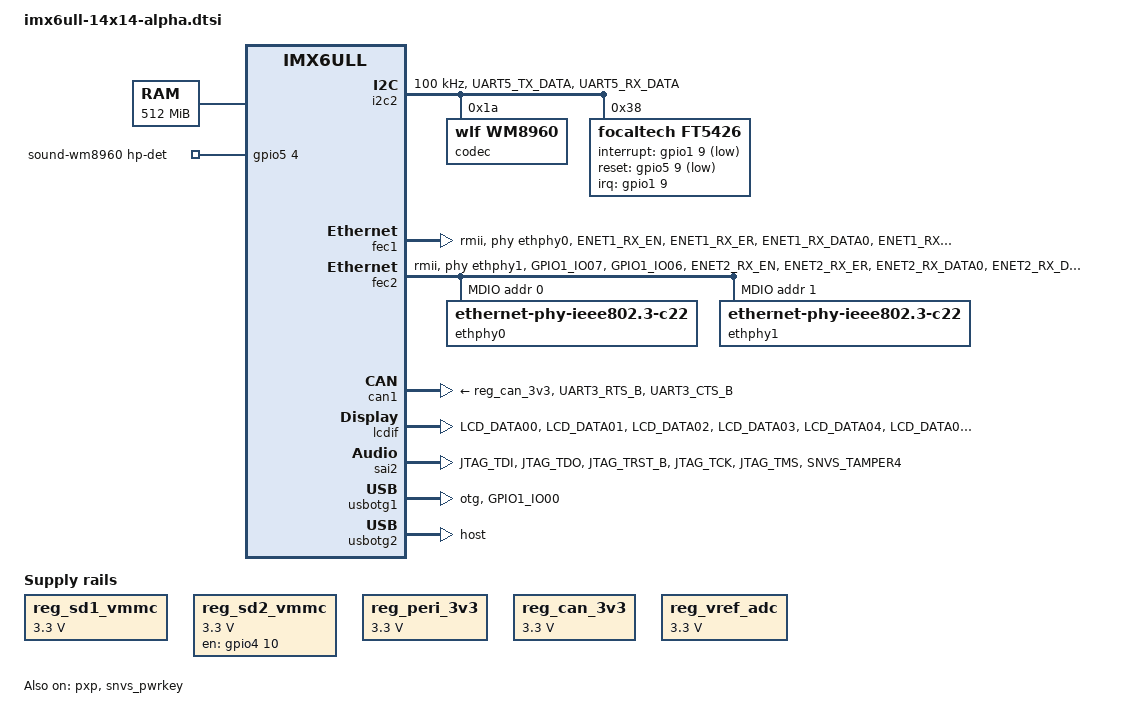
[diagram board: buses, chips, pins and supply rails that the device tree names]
// SPDX-License-Identifier: GPL-2.0
//
// Copyright (C) 2015 Freescale Semiconductor, Inc.

#include <dt-bindings/media/video-interfaces.h>

/ {
	chosen {
		stdout-path = &uart1;
	};

	memory@80000000 {
		device_type = "memory";
		reg = <0x80000000 0x20000000>;
	};

	reserved-memory {
		#address-cells = <1>;
		#size-cells = <1>;
		ranges;

		linux,cma {
			compatible = "shared-dma-pool";
			reusable;
			size = <0xa000000>;
			linux,cma-default;
		};
	};

	pxp_v4l2 {
		compatible = "fsl,imx6ul-pxp-v4l2", "fsl,imx6sx-pxp-v4l2", "fsl,imx6sl-pxp-v4l2";
		status = "okay";
	};

	reg_sd1_vmmc: regulator-sd1-vmmc {
		compatible = "regulator-fixed";
		regulator-name = "VSD_3V3";
		regulator-min-microvolt = <3300000>;
		regulator-max-microvolt = <3300000>;
		off-on-delay-us = <20000>;
		enable-active-high;
	};

	reg_sd2_vmmc: regulator-sd2-vmmc {
		compatible = "regulator-fixed";
		regulator-name = "+V3.3";
		regulator-min-microvolt = <3300000>;
		regulator-max-microvolt = <3300000>;
		gpio = <&gpio4 10 GPIO_ACTIVE_HIGH>;
		off-on-delay-us = <20000>;
		enable-active-high;
	};

	reg_peri_3v3: regulator-peri-3v3 {
		compatible = "regulator-fixed";
		pinctrl-names = "default";
		regulator-name = "VPERI_3V3";
		regulator-min-microvolt = <3300000>;
		regulator-max-microvolt = <3300000>;
		/*
		 * If you want to want to make this dynamic please
		 * check schematics and test all affected peripherals:
		 *
		 * - sensors
		 * - ethernet phy
		 * - can
		 * - bluetooth
		 * - wm8960 audio codec
		 * - ov5640 camera
		 */
		regulator-always-on;
	};

	reg_can_3v3: regulator-can-3v3 {
		compatible = "regulator-fixed";
		regulator-name = "can-3v3";
		regulator-min-microvolt = <3300000>;
		regulator-max-microvolt = <3300000>;
	};

	reg_vref_adc: regulator-adc-3v3 {
		compatible = "regulator-fixed";
		regulator-name = "vref-adc-3v3";
		regulator-min-microvolt = <3300000>;
		regulator-max-microvolt = <3300000>;
	};

	sound-wm8960 {
		compatible = "fsl,imx-audio-wm8960";
		model = "wm8960-audio";
		audio-cpu = <&sai2>;
		audio-codec = <&codec>;
		audio-asrc = <&asrc>;
		hp-det-gpio = <&gpio5 4 0>;
		audio-routing =
			"Headphone Jack", "HP_L",
			"Headphone Jack", "HP_R",
			"Ext Spk", "SPK_LP",
			"Ext Spk", "SPK_LN",
			"Ext Spk", "SPK_RP",
			"Ext Spk", "SPK_RN",
			"LINPUT2", "Mic Jack",
			"LINPUT3", "Mic Jack",
			"RINPUT1", "AMIC",
			"RINPUT2", "AMIC",
			"Mic Jack", "MICB",
			"AMIC", "MICB";
	};
};

&clks {
	assigned-clocks = <&clks IMX6UL_CLK_PLL4_AUDIO_DIV>;
	assigned-clock-rates = <786432000>;
};

&csi {
	status = "disabled";

	port {
		csi1_ep: endpoint {
			remote-endpoint = <&ov5640_ep>;
		};
	};
};

&i2c2 {
	clock-frequency = <100000>;
	pinctrl-names = "default";
	pinctrl-0 = <&pinctrl_i2c2>;
	status = "okay";

	codec: wm8960@1a {
		#sound-dai-cells = <0>;
		compatible = "wlf,wm8960";
		reg = <0x1a>;
		wlf,shared-lrclk;
		wlf,hp-cfg = <3 2 3>;
		wlf,gpio-cfg = <1 3>;
		clocks = <&clks IMX6UL_CLK_SAI2>;
		clock-names = "mclk";
	};

	ov5640: ov5640@3c {
		compatible = "ovti,ov5640";
		reg = <0x3c>;
		pinctrl-names = "default";
		pinctrl-0 = <&pinctrl_csi1 &pinctrl_camera_clock>;
		clocks = <&clks IMX6UL_CLK_CSI>;
		clock-names = "csi_mclk";
		csi_id = <0>;
		mclk = <24000000>;
		mclk_source = <0>;
		status = "disabled";
		port {
			ov5640_ep: endpoint {
				remote-endpoint = <&csi1_ep>;
			};
		};
	};

	ft5426@38 {
		compatible = "focaltech,ft5426", "edt,edt-ft5406";
		reg = <0x38>;
		pinctrl-names = "default";
		pinctrl-0 = <&pinctrl_tsc
					&pinctrl_tsc_reset>;
		interrupt-parent = <&gpio1>;
		interrupts = <9 IRQ_TYPE_EDGE_FALLING>;
		interrupt-gpios = <&gpio1 9 GPIO_ACTIVE_LOW>;
		reset-gpios = <&gpio5 9 GPIO_ACTIVE_LOW>;
		touchscreen-size-x = <1024>;
		touchscreen-size-y = <600>;
	};
};

&fec1 {
	pinctrl-names = "default";
	pinctrl-0 = <&pinctrl_enet1
				&pinctrl_enet1_reset>;
	phy-mode = "rmii";
	phy-handle = <&ethphy0>;
	phy-reset-gpios = <&gpio5 7 GPIO_ACTIVE_LOW>;
	phy-reset-duration = <200>;
	local-mac-address = [4a 00 71 b2 72 ac];
	status = "okay";
};

&fec2 {
	pinctrl-names = "default";
	pinctrl-0 = <&pinctrl_enet2
				&pinctrl_enet2_reset>;
	phy-mode = "rmii";
	phy-handle = <&ethphy1>;
	phy-reset-gpios = <&gpio5 8 GPIO_ACTIVE_LOW>;
	phy-reset-duration = <200>;
	local-mac-address = [8a 92 3d 1c 76 fc];
	status = "okay";

	mdio {
		#address-cells = <1>;
		#size-cells = <0>;

		ethphy0: ethernet-phy@0 {
			compatible = "ethernet-phy-ieee802.3-c22";
			reg = <0>;
		};

		ethphy1: ethernet-phy@1 {
			compatible = "ethernet-phy-ieee802.3-c22";
			reg = <1>;
		};
	};
};

&can1 {
	pinctrl-names = "default";
	pinctrl-0 = <&pinctrl_flexcan1>;
	xceiver-supply = <&reg_can_3v3>;
	status = "okay";
};

&lcdif {
	assigned-clocks = <&clks IMX6UL_CLK_LCDIF_PRE_SEL>;
	assigned-clock-parents = <&clks IMX6UL_CLK_PLL5_VIDEO_DIV>;
	pinctrl-names = "default";
	pinctrl-0 = <&pinctrl_lcdif_dat
		     &pinctrl_lcdif_ctrl>;
	display = <&display0>;
	status = "okay";

	display0: display@0 {
		bits-per-pixel = <24>;	/* 一个像素占用 24bit */
		bus-width = <24>;		/* 总线宽度 */

		display-timings {
			native-mode = <&timing0>;

			timing0: timing0 {
				clock-frequency = <51200000>;	/* LCD 像素时钟，单位 Hz */
				hactive = <1024>;				/* LCD X 轴像素个数 */
				vactive = <600>;				/* LCD Y 轴像素个数 */
				hfront-porch = <160>;			/* LCD hfp 参数 */
				hback-porch = <140>;			/* LCD hbp 参数 */
				hsync-len = <20>;				/* LCD hspw 参数 */
				vback-porch = <20>;				/* LCD vbp 参数 */
				vfront-porch = <12>;			/* LCD vfp 参数 */
				vsync-len = <3>;				/* LCD vspw 参数 */
				hsync-active = <0>;				/* hsync 数据线极性 */
				vsync-active = <0>;				/* vsync 数据线极性 */
				de-active = <1>;				/* de 数据线极性 */
				pixelclk-active = <0>;			/* clk 数据线极性 */
			};
		};
	};
};

&pxp {
	status = "okay";
};

&sai2 {
	pinctrl-names = "default";
	pinctrl-0 = <&pinctrl_sai2 
				&pinctrl_sai2_hp_det_b>;
	assigned-clocks = <&clks IMX6UL_CLK_SAI2_SEL>,
			  <&clks IMX6UL_CLK_SAI2>;
	assigned-clock-parents = <&clks IMX6UL_CLK_PLL4_AUDIO_DIV>;
	assigned-clock-rates = <0>, <12288000>;
	fsl,sai-mclk-direction-output;
	status = "okay";
};

&snvs_poweroff {
	status = "okay";
};

&snvs_pwrkey {
	status = "okay";
};

&usbotg1 {
	dr_mode = "otg";
	pinctrl-names = "default";
	pinctrl-0 = <&pinctrl_usb_otg1>;
	status = "okay";
};

&usbotg2 {
	dr_mode = "host";
	disable-over-current;
	status = "okay";
};

&usbphy1 {
	fsl,tx-d-cal = <106>;
};

&usbphy2 {
	fsl,tx-d-cal = <106>;
};

&wdog1 {
	pinctrl-names = "default";
	pinctrl-0 = <&pinctrl_wdog>;
	fsl,ext-reset-output;
};

&iomuxc {
	pinctrl-names = "default";

	pinctrl_camera_clock: cameraclockgrp {
		fsl,pins = <
			MX6UL_PAD_CSI_MCLK__CSI_MCLK		0x1b088
		>;
	};

	pinctrl_csi1: csi1grp {
		fsl,pins = <
			MX6UL_PAD_CSI_PIXCLK__CSI_PIXCLK	0x1b088
			MX6UL_PAD_CSI_VSYNC__CSI_VSYNC		0x1b088
			MX6UL_PAD_CSI_HSYNC__CSI_HSYNC		0x1b088
			MX6UL_PAD_CSI_DATA00__CSI_DATA02	0x1b088
			MX6UL_PAD_CSI_DATA01__CSI_DATA03	0x1b088
			MX6UL_PAD_CSI_DATA02__CSI_DATA04	0x1b088
			MX6UL_PAD_CSI_DATA03__CSI_DATA05	0x1b088
			MX6UL_PAD_CSI_DATA04__CSI_DATA06	0x1b088
			MX6UL_PAD_CSI_DATA05__CSI_DATA07	0x1b088
			MX6UL_PAD_CSI_DATA06__CSI_DATA08	0x1b088
			MX6UL_PAD_CSI_DATA07__CSI_DATA09	0x1b088
		>;
	};

	pinctrl_enet1: enet1grp {
		fsl,pins = <
			MX6UL_PAD_ENET1_RX_EN__ENET1_RX_EN	0x1b0b0
			MX6UL_PAD_ENET1_RX_ER__ENET1_RX_ER	0x1b0b0
			MX6UL_PAD_ENET1_RX_DATA0__ENET1_RDATA00	0x1b0b0
			MX6UL_PAD_ENET1_RX_DATA1__ENET1_RDATA01	0x1b0b0
			MX6UL_PAD_ENET1_TX_EN__ENET1_TX_EN	0x1b0b0
			MX6UL_PAD_ENET1_TX_DATA0__ENET1_TDATA00	0x1b0b0
			MX6UL_PAD_ENET1_TX_DATA1__ENET1_TDATA01	0x1b0b0
			MX6UL_PAD_ENET1_TX_CLK__ENET1_REF_CLK1	0x4001b009
		>;
	};

	pinctrl_enet2: enet2grp {
		fsl,pins = <
			MX6UL_PAD_GPIO1_IO07__ENET2_MDC		0x1b0b0
			MX6UL_PAD_GPIO1_IO06__ENET2_MDIO	0x1b0b0
			MX6UL_PAD_ENET2_RX_EN__ENET2_RX_EN	0x1b0b0
			MX6UL_PAD_ENET2_RX_ER__ENET2_RX_ER	0x1b0b0
			MX6UL_PAD_ENET2_RX_DATA0__ENET2_RDATA00	0x1b0b0
			MX6UL_PAD_ENET2_RX_DATA1__ENET2_RDATA01	0x1b0b0
			MX6UL_PAD_ENET2_TX_EN__ENET2_TX_EN	0x1b0b0
			MX6UL_PAD_ENET2_TX_DATA0__ENET2_TDATA00	0x1b0b0
			MX6UL_PAD_ENET2_TX_DATA1__ENET2_TDATA01	0x1b0b0
			MX6UL_PAD_ENET2_TX_CLK__ENET2_REF_CLK2	0x4001b009
		>;
	};

	pinctrl_flexcan1: flexcan1grp {
		fsl,pins = <
			MX6UL_PAD_UART3_RTS_B__FLEXCAN1_RX	0x1b020
			MX6UL_PAD_UART3_CTS_B__FLEXCAN1_TX	0x1b020
		>;
	};

	pinctrl_flexcan2: flexcan2grp {
		fsl,pins = <
			MX6UL_PAD_UART2_RTS_B__FLEXCAN2_RX	0x1b020
			MX6UL_PAD_UART2_CTS_B__FLEXCAN2_TX	0x1b020
		>;
	};

	pinctrl_i2c1: i2c1grp {
		fsl,pins = <
			MX6UL_PAD_UART4_TX_DATA__I2C1_SCL 0x4001b8b0
			MX6UL_PAD_UART4_RX_DATA__I2C1_SDA 0x4001b8b0
		>;
	};

	pinctrl_i2c2: i2c2grp {
		fsl,pins = <
			MX6UL_PAD_UART5_TX_DATA__I2C2_SCL 0x4001b8b0
			MX6UL_PAD_UART5_RX_DATA__I2C2_SDA 0x4001b8b0
		>;
	};

	pinctrl_tsc: tscgrp {
		fsl,pins = <
			MX6UL_PAD_GPIO1_IO09__GPIO1_IO09 			0xf080 /* TSC_INT */
		>;
	};

	pinctrl_lcdif_dat: lcdifdatgrp {
		fsl,pins = <
			MX6UL_PAD_LCD_DATA00__LCDIF_DATA00  0x49
			MX6UL_PAD_LCD_DATA01__LCDIF_DATA01  0x49
			MX6UL_PAD_LCD_DATA02__LCDIF_DATA02  0x49
			MX6UL_PAD_LCD_DATA03__LCDIF_DATA03  0x49
			MX6UL_PAD_LCD_DATA04__LCDIF_DATA04  0x49
			MX6UL_PAD_LCD_DATA05__LCDIF_DATA05  0x49
			MX6UL_PAD_LCD_DATA06__LCDIF_DATA06  0x49
			MX6UL_PAD_LCD_DATA07__LCDIF_DATA07  0x49
			MX6UL_PAD_LCD_DATA08__LCDIF_DATA08  0x49
			MX6UL_PAD_LCD_DATA09__LCDIF_DATA09  0x49
			MX6UL_PAD_LCD_DATA10__LCDIF_DATA10  0x49
			MX6UL_PAD_LCD_DATA11__LCDIF_DATA11  0x49
			MX6UL_PAD_LCD_DATA12__LCDIF_DATA12  0x49
			MX6UL_PAD_LCD_DATA13__LCDIF_DATA13  0x49
			MX6UL_PAD_LCD_DATA14__LCDIF_DATA14  0x49
			MX6UL_PAD_LCD_DATA15__LCDIF_DATA15  0x49
			MX6UL_PAD_LCD_DATA16__LCDIF_DATA16  0x49
			MX6UL_PAD_LCD_DATA17__LCDIF_DATA17  0x49
			MX6UL_PAD_LCD_DATA18__LCDIF_DATA18  0x49
			MX6UL_PAD_LCD_DATA19__LCDIF_DATA19  0x49
			MX6UL_PAD_LCD_DATA20__LCDIF_DATA20  0x49
			MX6UL_PAD_LCD_DATA21__LCDIF_DATA21  0x49
			MX6UL_PAD_LCD_DATA22__LCDIF_DATA22  0x49
			MX6UL_PAD_LCD_DATA23__LCDIF_DATA23  0x49
		>;
	};

	pinctrl_lcdif_ctrl: lcdifctrlgrp {
		fsl,pins = <
			MX6UL_PAD_LCD_CLK__LCDIF_CLK	    0x49
			MX6UL_PAD_LCD_ENABLE__LCDIF_ENABLE  0x49
			MX6UL_PAD_LCD_HSYNC__LCDIF_HSYNC    0x49
			MX6UL_PAD_LCD_VSYNC__LCDIF_VSYNC    0x49
		>;
	};

	pinctrl_sai2: sai2grp {
		fsl,pins = <
			MX6UL_PAD_JTAG_TDI__SAI2_TX_BCLK	0x17088
			MX6UL_PAD_JTAG_TDO__SAI2_TX_SYNC	0x17088
			MX6UL_PAD_JTAG_TRST_B__SAI2_TX_DATA	0x11088
			MX6UL_PAD_JTAG_TCK__SAI2_RX_DATA	0x11088
			MX6UL_PAD_JTAG_TMS__SAI2_MCLK		0x17088
		>;
	};

	pinctrl_pwm1: pwm1grp {
		fsl,pins = <
			MX6UL_PAD_GPIO1_IO08__PWM1_OUT   0x110b0
		>;
	};

	pinctrl_pwm3: pwm3grp {
		fsl,pins = <
			MX6UL_PAD_GPIO1_IO04__PWM3_OUT   0x110b0
		>;
	};

	pinctrl_spi3: spi3grp {
		fsl,pins = <
			MX6UL_PAD_UART2_TX_DATA__GPIO1_IO20 	0x10b0 			/* CS */
			MX6UL_PAD_UART2_RX_DATA__ECSPI3_SCLK 	0x10b1 			/* SCLK */
			MX6UL_PAD_UART2_RTS_B__ECSPI3_MISO 		0x10b1 			/* MISO */
			MX6UL_PAD_UART2_CTS_B__ECSPI3_MOSI 		0x10b1 			/* MOSI */
		>;
	};

	pinctrl_uart1: uart1grp {
		fsl,pins = <
			MX6UL_PAD_UART1_TX_DATA__UART1_DCE_TX 0x1b0b1
			MX6UL_PAD_UART1_RX_DATA__UART1_DCE_RX 0x1b0b1
		>;
	};

	pinctrl_uart3: uart3grp {
		fsl,pins = <
			MX6UL_PAD_UART3_TX_DATA__UART3_DCE_TX 			0X1b0b1
			MX6UL_PAD_UART3_RX_DATA__UART3_DCE_RX 			0X1b0b1
		>;
	};

	pinctrl_usb_otg1: usbotg1grp {
		fsl,pins = <
			MX6UL_PAD_GPIO1_IO00__ANATOP_OTG1_ID	0x13058
		>;
	};

	pinctrl_usdhc1: usdhc1grp {
		fsl,pins = <
			MX6UL_PAD_SD1_CMD__USDHC1_CMD     	0x17059
			MX6UL_PAD_SD1_CLK__USDHC1_CLK		0x10071
			MX6UL_PAD_SD1_DATA0__USDHC1_DATA0 	0x17059
			MX6UL_PAD_SD1_DATA1__USDHC1_DATA1 	0x17059
			MX6UL_PAD_SD1_DATA2__USDHC1_DATA2 	0x17059
			MX6UL_PAD_SD1_DATA3__USDHC1_DATA3 	0x17059
			MX6UL_PAD_UART1_RTS_B__GPIO1_IO19       0x17059 /* SD1 CD */
			MX6UL_PAD_GPIO1_IO05__USDHC1_VSELECT    0x17059 /* SD1 VSELECT */
		>;
	};

	pinctrl_usdhc1_100mhz: usdhc1grp100mhz {
		fsl,pins = <
			MX6UL_PAD_SD1_CMD__USDHC1_CMD     0x170b9
			MX6UL_PAD_SD1_CLK__USDHC1_CLK     0x100b9
			MX6UL_PAD_SD1_DATA0__USDHC1_DATA0 0x170b9
			MX6UL_PAD_SD1_DATA1__USDHC1_DATA1 0x170b9
			MX6UL_PAD_SD1_DATA2__USDHC1_DATA2 0x170b9
			MX6UL_PAD_SD1_DATA3__USDHC1_DATA3 0x170b9

		>;
	};

	pinctrl_usdhc1_200mhz: usdhc1grp200mhz {
		fsl,pins = <
			MX6UL_PAD_SD1_CMD__USDHC1_CMD     0x170f9
			MX6UL_PAD_SD1_CLK__USDHC1_CLK     0x100f9
			MX6UL_PAD_SD1_DATA0__USDHC1_DATA0 0x170f9
			MX6UL_PAD_SD1_DATA1__USDHC1_DATA1 0x170f9
			MX6UL_PAD_SD1_DATA2__USDHC1_DATA2 0x170f9
			MX6UL_PAD_SD1_DATA3__USDHC1_DATA3 0x170f9
		>;
	};

	pinctrl_usdhc2: usdhc2grp {
		fsl,pins = <
			MX6UL_PAD_NAND_RE_B__USDHC2_CLK     0x17059
			MX6UL_PAD_NAND_WE_B__USDHC2_CMD     0x17059
			MX6UL_PAD_NAND_DATA00__USDHC2_DATA0 0x17059
			MX6UL_PAD_NAND_DATA01__USDHC2_DATA1 0x17059
			MX6UL_PAD_NAND_DATA02__USDHC2_DATA2 0x17059
			MX6UL_PAD_NAND_DATA03__USDHC2_DATA3 0x17059
		>;
	};

	pinctrl_usdhc2_8bit: usdhc2grp_8bit {
		fsl,pins = <
			MX6UL_PAD_NAND_RE_B__USDHC2_CLK     0x10069
			MX6UL_PAD_NAND_WE_B__USDHC2_CMD     0x17059
			MX6UL_PAD_NAND_DATA00__USDHC2_DATA0 0x17059
			MX6UL_PAD_NAND_DATA01__USDHC2_DATA1 0x17059
			MX6UL_PAD_NAND_DATA02__USDHC2_DATA2 0x17059
			MX6UL_PAD_NAND_DATA03__USDHC2_DATA3 0x17059
			MX6UL_PAD_NAND_DATA04__USDHC2_DATA4 0x17059
			MX6UL_PAD_NAND_DATA05__USDHC2_DATA5 0x17059
			MX6UL_PAD_NAND_DATA06__USDHC2_DATA6 0x17059
			MX6UL_PAD_NAND_DATA07__USDHC2_DATA7 0x17059
		>;
	};

	pinctrl_usdhc2_8bit_100mhz: usdhc2grp_8bit_100mhz {
		fsl,pins = <
			MX6UL_PAD_NAND_RE_B__USDHC2_CLK     0x100b9
			MX6UL_PAD_NAND_WE_B__USDHC2_CMD     0x170b9
			MX6UL_PAD_NAND_DATA00__USDHC2_DATA0 0x170b9
			MX6UL_PAD_NAND_DATA01__USDHC2_DATA1 0x170b9
			MX6UL_PAD_NAND_DATA02__USDHC2_DATA2 0x170b9
			MX6UL_PAD_NAND_DATA03__USDHC2_DATA3 0x170b9
			MX6UL_PAD_NAND_DATA04__USDHC2_DATA4 0x170b9
			MX6UL_PAD_NAND_DATA05__USDHC2_DATA5 0x170b9
			MX6UL_PAD_NAND_DATA06__USDHC2_DATA6 0x170b9
			MX6UL_PAD_NAND_DATA07__USDHC2_DATA7 0x170b9
		>;
	};

	pinctrl_usdhc2_8bit_200mhz: usdhc2grp_8bit_200mhz {
		fsl,pins = <
			MX6UL_PAD_NAND_RE_B__USDHC2_CLK     0x100f9
			MX6UL_PAD_NAND_WE_B__USDHC2_CMD     0x170f9
			MX6UL_PAD_NAND_DATA00__USDHC2_DATA0 0x170f9
			MX6UL_PAD_NAND_DATA01__USDHC2_DATA1 0x170f9
			MX6UL_PAD_NAND_DATA02__USDHC2_DATA2 0x170f9
			MX6UL_PAD_NAND_DATA03__USDHC2_DATA3 0x170f9
			MX6UL_PAD_NAND_DATA04__USDHC2_DATA4 0x170f9
			MX6UL_PAD_NAND_DATA05__USDHC2_DATA5 0x170f9
			MX6UL_PAD_NAND_DATA06__USDHC2_DATA6 0x170f9
			MX6UL_PAD_NAND_DATA07__USDHC2_DATA7 0x170f9
		>;
	};

	pinctrl_wdog: wdoggrp {
		fsl,pins = <
			MX6UL_PAD_LCD_RESET__WDOG1_WDOG_ANY    0x30b0
		>;
	};

	pinctrl_gpio_leds: ledsgrp {
		fsl,pins = <
			MX6UL_PAD_GPIO1_IO03__GPIO1_IO03 		0x10b0 /* LED0 */
		>;
	};

	pinctrl_adc1: adc1grp {
		fsl,pins = <
			MX6UL_PAD_GPIO1_IO01__GPIO1_IO01 			0xb0 /** ADC1 */
		>;
	};

	pinctrl_gpio_keys: keysgrp {
		fsl,pins = <
			MX6UL_PAD_UART1_CTS_B__GPIO1_IO18 			0xf080 /* KEY0 */
		>;
	};
};

&iomuxc_snvs {
	pinctrl-names = "default";

	pinctrl_beep: beepgrp {
		fsl,pins = <
			MX6ULL_PAD_SNVS_TAMPER1__GPIO5_IO01 		0x10b0 /* BEEP */
		>;
	};

	pinctrl_sai2_hp_det_b: sai2_hp_det_grp {
		fsl,pins = <
			MX6ULL_PAD_SNVS_TAMPER4__GPIO5_IO04 		0x17059 /* SAI2_HP_DET_B */
		>;
	};

	/*enet1 reset */
	pinctrl_enet1_reset: enet1resetgrp {
		fsl,pins = <
			/* used for enet1 reset */
			MX6ULL_PAD_SNVS_TAMPER7__GPIO5_IO07		0x10b0
		>;
	};

	/*enet2 reset */
	pinctrl_enet2_reset: enet2resetgrp {
		fsl,pins = <
			/* used for enet2 reset */
			MX6ULL_PAD_SNVS_TAMPER8__GPIO5_IO08		0x10b0
		>;
	};

	pinctrl_tsc_reset: tsc_reset {
		fsl,pins = <
			MX6ULL_PAD_SNVS_TAMPER9__GPIO5_IO09 		0x10b0 /* TSC_RESET */
		>;
	};
};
